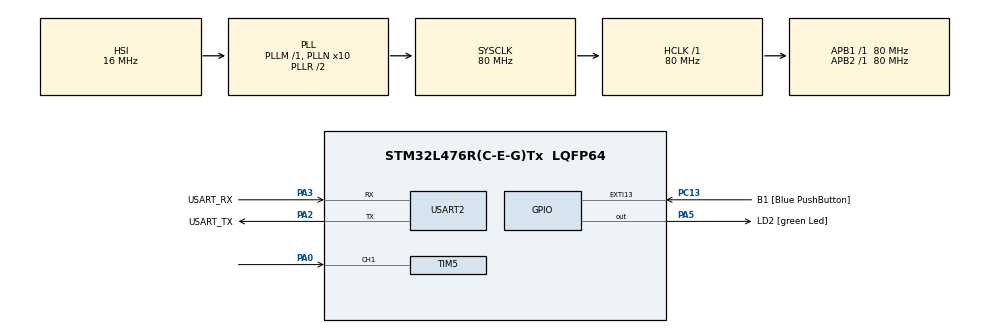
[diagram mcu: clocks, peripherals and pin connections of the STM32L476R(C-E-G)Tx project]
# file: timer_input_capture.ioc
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Mcu.Family=STM32L4
Mcu.Name=STM32L476R(C-E-G)Tx
Mcu.Package=LQFP64
Mcu.UserConstants=TIM5_PRESCALER,19;TIM5_PERIOD,4294967295
NVIC.PriorityGroup=NVIC_PRIORITYGROUP_4
NVIC.TIM5_IRQn=true\:0\:0\:false\:false\:true\:true\:true
PA0.GPIO_PuPd=GPIO_PULLUP
PA0.Signal=S_TIM5_CH1
PA13\ (JTMS-SWDIO).GPIO_Label=TMS
PA13\ (JTMS-SWDIO).Mode=Serial_Wire
PA13\ (JTMS-SWDIO).Signal=SYS_JTMS-SWDIO
PA14\ (JTCK-SWCLK).GPIO_Label=TCK
PA14\ (JTCK-SWCLK).Mode=Serial_Wire
PA14\ (JTCK-SWCLK).Signal=SYS_JTCK-SWCLK
PA2.GPIO_Label=USART_TX
PA2.GPIO_Mode=GPIO_MODE_AF_PP
PA2.GPIO_PuPd=GPIO_NOPULL
PA2.GPIO_Speed=GPIO_SPEED_FREQ_VERY_HIGH
PA2.Mode=Asynchronous
PA2.Signal=USART2_TX
PA3.GPIO_Label=USART_RX
PA3.GPIO_Mode=GPIO_MODE_AF_PP
PA3.GPIO_PuPd=GPIO_NOPULL
PA3.GPIO_Speed=GPIO_SPEED_FREQ_VERY_HIGH
PA3.Mode=Asynchronous
PA3.Signal=USART2_RX
PA5.GPIO_Label=LD2 [green Led]
PA5.GPIO_ModeDefaultOutputPP=GPIO_MODE_OUTPUT_PP
PA5.GPIO_PuPd=GPIO_NOPULL
PA5.GPIO_Speed=GPIO_SPEED_FREQ_LOW
PA5.Signal=GPIO_Output
PB3\ (JTDO-TRACESWO).GPIO_Label=SWO
PB3\ (JTDO-TRACESWO).Signal=SYS_JTDO-SWO
PC13.GPIO_Label=B1 [Blue PushButton]
PC13.GPIO_ModeDefaultEXTI=GPIO_MODE_IT_FALLING
PC13.GPIO_PuPd=GPIO_NOPULL
PC13.Signal=GPXTI13
PC14-OSC32_IN\ (PC14).Mode=LSE-External-Oscillator
PC14-OSC32_IN\ (PC14).Signal=RCC_OSC32_IN
PC15-OSC32_OUT\ (PC15).Mode=LSE-External-Oscillator
PC15-OSC32_OUT\ (PC15).Signal=RCC_OSC32_OUT
PH0-OSC_IN\ (PH0).Signal=RCC_OSC_IN
PH1-OSC_OUT\ (PH1).Signal=RCC_OSC_OUT
ProjectManager.HeapSize=0x200
ProjectManager.StackSize=0x400
ProjectManager.TargetToolchain=STM32CubeIDE
RCC.ADCFreq_Value=64000000
RCC.AHBFreq_Value=80000000
RCC.APB1Freq_Value=80000000
RCC.APB1TimFreq_Value=80000000
RCC.APB2Freq_Value=80000000
RCC.APB2TimFreq_Value=80000000
RCC.CortexFreq_Value=80000000
RCC.HCLKFreq_Value=80000000
RCC.HSE_VALUE=8000000
RCC.HSI_VALUE=16000000
RCC.MSI_VALUE=4000000
RCC.PLLN=10
RCC.PLLSourceVirtual=RCC_PLLSOURCE_HSI
RCC.PREFETCH_ENABLE=1
RCC.SYSCLKFreq_VALUE=80000000
RCC.SYSCLKSource=RCC_SYSCLKSOURCE_PLLCLK
RCC.USBFreq_Value=64000000
RCC.VCOOutputFreq_Value=160000000
SH.S_TIM5_CH1.0=TIM5_CH1,Input_Capture1_from_TI1
TIM5.Channel-Input_Capture1_from_TI1=TIM_CHANNEL_1
TIM5.ICPolarity_CH1=TIM_INPUTCHANNELPOLARITY_FALLING
TIM5.Period=TIM5_PERIOD
TIM5.Prescaler=TIM5_PRESCALER
USART2.VirtualMode-Asynchronous=VM_ASYNC
board=NUCLEO-L476RG

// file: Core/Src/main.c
/* USER CODE BEGIN Header */
/**
  ******************************************************************************
  * @file           : main.c
  * @brief          : Main program body
  ******************************************************************************
  * @attention
  *
  * <h2><center>&copy; Copyright (c) 2024 STMicroelectronics.
  * All rights reserved.</center></h2>
  *
  * This software component is licensed by ST under BSD 3-Clause license,
  * the "License"; You may not use this file except in compliance with the
  * License. You may obtain a copy of the License at:
  *                        opensource.org/licenses/BSD-3-Clause
  *
  ******************************************************************************
  */
/* USER CODE END Header */
#include "main.h"
#include "tim.h"
#include "usart.h"
#include "gpio.h"

/* USER CODE BEGIN Includes */
#include "stdio.h"
/* USER CODE END Includes */

void SystemClock_Config(void);

/* USER CODE BEGIN 0 */
volatile int flag;
volatile int period;

int _write(int file, char *ptr, int len) {
    HAL_UART_Transmit(&huart2, (uint8_t *)ptr, len, 50);
    return len;
}

void HAL_TIM_IC_CaptureCallback(TIM_HandleTypeDef *htim) {
    if (htim == &htim5) {
        if (htim->Channel == HAL_TIM_ACTIVE_CHANNEL_1) {
            period = __HAL_TIM_GET_COMPARE(&htim5, TIM_CHANNEL_1);
            __HAL_TIM_SET_COUNTER(&htim5, 0);
            flag = 1;
        }
    }
}

/* USER CODE END 0 */

int main(void)
{

  /* MCU Configuration--------------------------------------------------------*/

  /* Reset of all peripherals, Initializes the Flash interface and the Systick. */
  HAL_Init();

  /* Configure the system clock */
  SystemClock_Config();

  /* Initialize all configured peripherals */
  MX_GPIO_Init();
  MX_USART2_UART_Init();
  MX_TIM5_Init();

  /* Infinite loop */
  /* USER CODE BEGIN WHILE */
  flag = 0;
  HAL_TIM_IC_Start_IT(&htim5, TIM_CHANNEL_1);
  while (1)
  {
	  if (flag == 1) {
		  HAL_GPIO_TogglePin(LD2_GPIO_Port, LD2_Pin);
		  printf("Wykryto zbocze po %d sekundach\r\n", period / 10000);
		  flag = 0;
	  }

	  HAL_Delay(10);
    /* USER CODE END WHILE */

  }
}

void SystemClock_Config(void)
{
  RCC_OscInitTypeDef RCC_OscInitStruct = {0};
  RCC_ClkInitTypeDef RCC_ClkInitStruct = {0};
  RCC_PeriphCLKInitTypeDef PeriphClkInit = {0};

  /** Initializes the RCC Oscillators according to the specified parameters
  * in the RCC_OscInitTypeDef structure.
  */
  RCC_OscInitStruct.OscillatorType = RCC_OSCILLATORTYPE_HSI;
  RCC_OscInitStruct.HSIState = RCC_HSI_ON;
  RCC_OscInitStruct.HSICalibrationValue = RCC_HSICALIBRATION_DEFAULT;
  RCC_OscInitStruct.PLL.PLLState = RCC_PLL_ON;
  RCC_OscInitStruct.PLL.PLLSource = RCC_PLLSOURCE_HSI;
  RCC_OscInitStruct.PLL.PLLM = 1;
  RCC_OscInitStruct.PLL.PLLN = 10;
  RCC_OscInitStruct.PLL.PLLP = RCC_PLLP_DIV7;
  RCC_OscInitStruct.PLL.PLLQ = RCC_PLLQ_DIV2;
  RCC_OscInitStruct.PLL.PLLR = RCC_PLLR_DIV2;
  if (HAL_RCC_OscConfig(&RCC_OscInitStruct) != HAL_OK)
  {
    Error_Handler();
  }
  /** Initializes the CPU, AHB and APB buses clocks
  */
  RCC_ClkInitStruct.ClockType = RCC_CLOCKTYPE_HCLK|RCC_CLOCKTYPE_SYSCLK
                              |RCC_CLOCKTYPE_PCLK1|RCC_CLOCKTYPE_PCLK2;
  RCC_ClkInitStruct.SYSCLKSource = RCC_SYSCLKSOURCE_PLLCLK;
  RCC_ClkInitStruct.AHBCLKDivider = RCC_SYSCLK_DIV1;
  RCC_ClkInitStruct.APB1CLKDivider = RCC_HCLK_DIV1;
  RCC_ClkInitStruct.APB2CLKDivider = RCC_HCLK_DIV1;

  if (HAL_RCC_ClockConfig(&RCC_ClkInitStruct, FLASH_LATENCY_4) != HAL_OK)
  {
    Error_Handler();
  }
  PeriphClkInit.PeriphClockSelection = RCC_PERIPHCLK_USART2;
  PeriphClkInit.Usart2ClockSelection = RCC_USART2CLKSOURCE_PCLK1;
  if (HAL_RCCEx_PeriphCLKConfig(&PeriphClkInit) != HAL_OK)
  {
    Error_Handler();
  }
  /** Configure the main internal regulator output voltage
  */
  if (HAL_PWREx_ControlVoltageScaling(PWR_REGULATOR_VOLTAGE_SCALE1) != HAL_OK)
  {
    Error_Handler();
  }
}

void Error_Handler(void)
{
}

/************************ (C) COPYRIGHT STMicroelectronics *****END OF FILE****/
